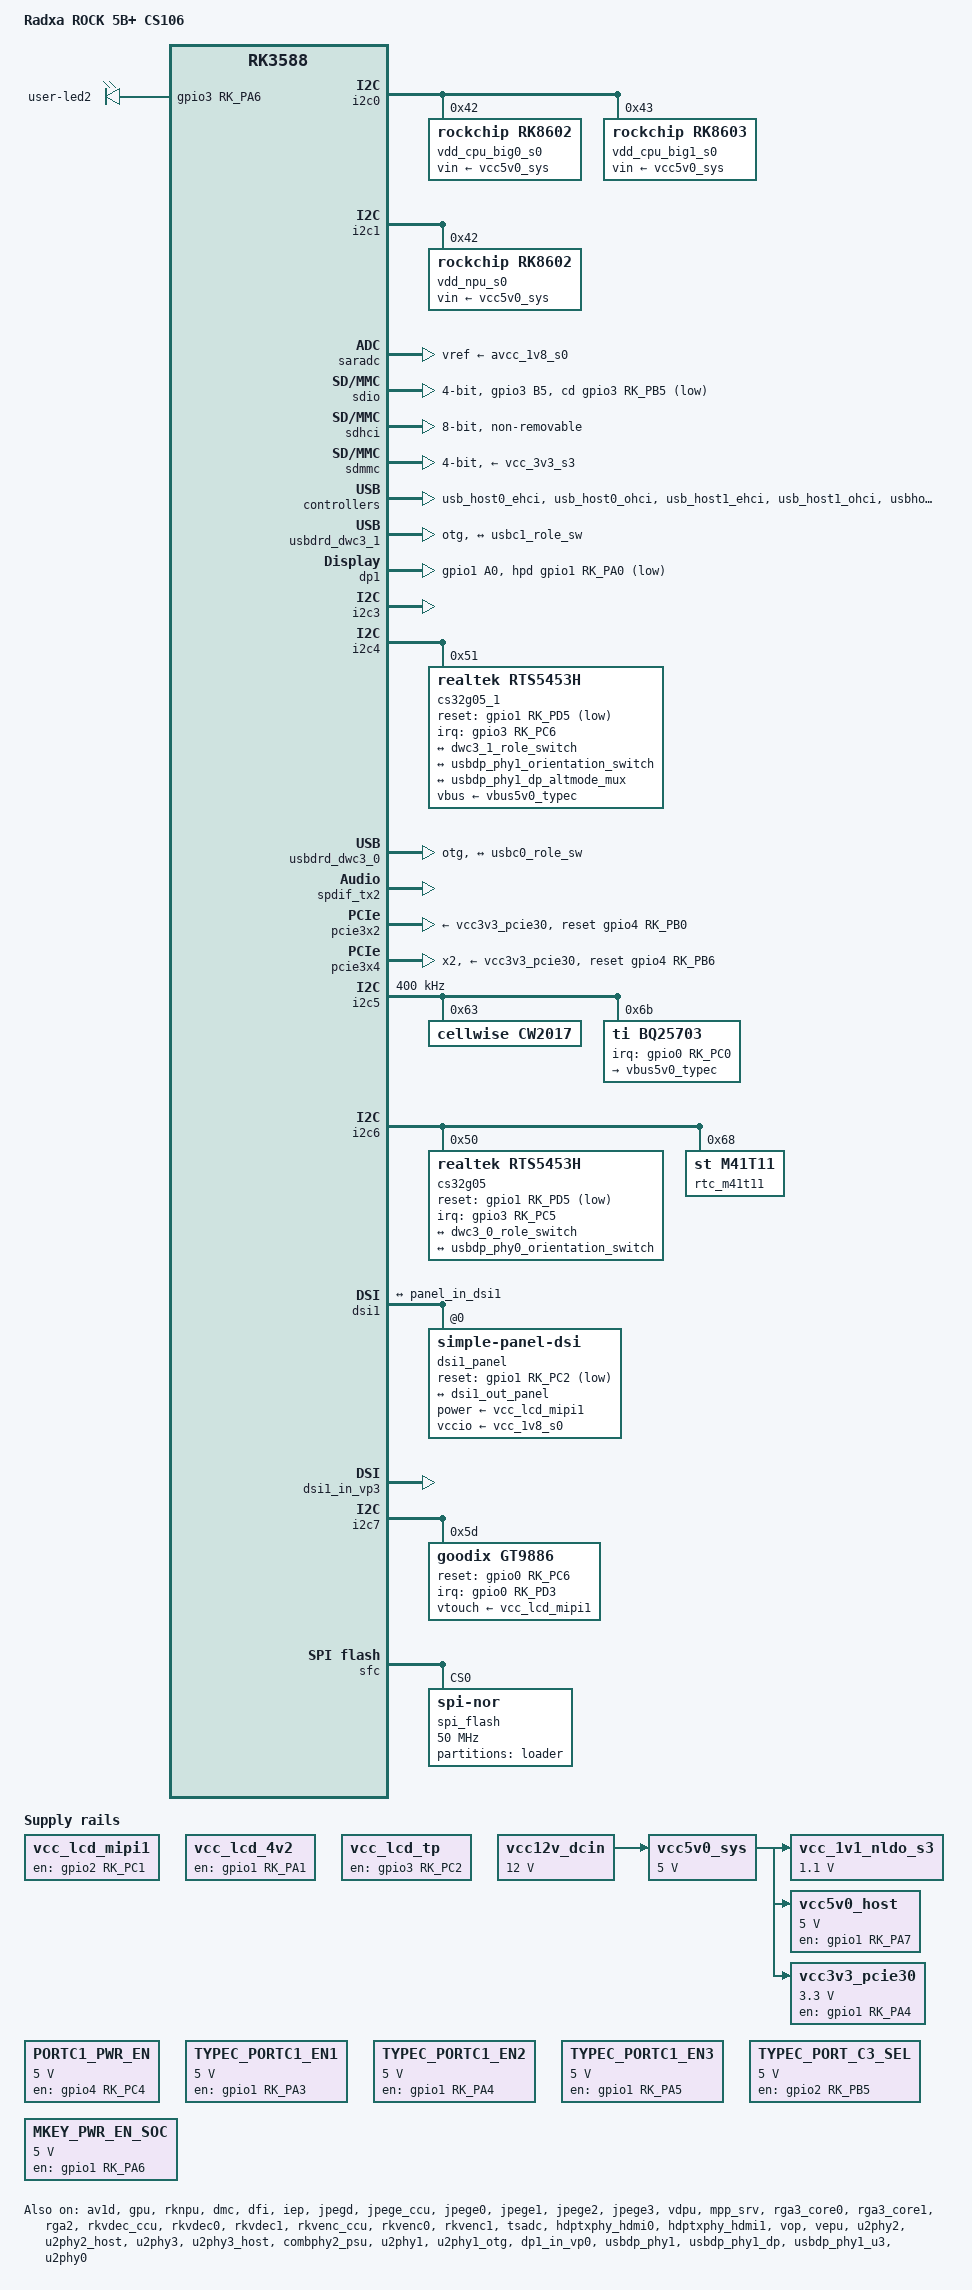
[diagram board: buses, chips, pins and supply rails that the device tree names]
// SPDX-License-Identifier: (GPL-2.0+ OR MIT)
/*
 * Copyright (c) 2024 Rockchip Electronics Co., Ltd.
 * Copyright (c) 2024 Radxa Computer (Shenzhen) Co., Ltd.
 *
 */

/dts-v1/;

#include <dt-bindings/gpio/gpio.h>
#include <dt-bindings/leds/common.h>
#include <dt-bindings/pwm/pwm.h>
#include <dt-bindings/pinctrl/rockchip.h>
#include <dt-bindings/input/rk-input.h>
#include <dt-bindings/display/drm_mipi_dsi.h>
#include <dt-bindings/display/rockchip_vop.h>
#include <dt-bindings/sensor-dev.h>
#include "dt-bindings/usb/pd.h"
#include "rk3588.dtsi"
#include "rk3588-rk806-single.dtsi"
#include "rk3588-linux.dtsi"

/ {
	model = "Radxa ROCK 5B+ CS106";
	compatible = "radxa,rock-5b-plus", "rockchip,rk3588";

	/delete-node/ chosen;

	/* SCG AMOLED Panel LCD regulator */
	vcc_lcd_mipi1: vcc-lcd-mipi1 {
		status = "okay";
		compatible = "regulator-fixed";
		regulator-name = "vcc_lcd_mipi1";
		gpio = <&gpio2 RK_PC1 GPIO_ACTIVE_HIGH>;
		enable-active-high;
		regulator-always-on;
		regulator-state-mem {
			regulator-off-in-suspend;
		};
	};

	vcc_lcd_4v2: vcc-lcd-4v2 {
		status = "okay";
		compatible = "regulator-fixed";
		regulator-name = "vcc_lcd_4v2";
		gpio = <&gpio1 RK_PA1 GPIO_ACTIVE_HIGH>;
		enable-active-high;
		regulator-always-on;
		regulator-state-mem {
			regulator-off-in-suspend;
		};
	};

	vcc_lcd_tp: vcc-lcd-tp {
		status = "okay";
		compatible = "regulator-fixed";
		regulator-name = "vcc_lcd_tp";
		gpio = <&gpio3 RK_PC2 GPIO_ACTIVE_HIGH>;
		enable-active-high;
		regulator-always-on;
		regulator-state-mem {
			regulator-off-in-suspend;
		};
	};

	vcc12v_dcin: vcc12v-dcin {
		compatible = "regulator-fixed";
		regulator-name = "vcc12v_dcin";
		regulator-always-on;
		regulator-boot-on;
		regulator-min-microvolt = <12000000>;
		regulator-max-microvolt = <12000000>;
	};

	vcc5v0_sys: vcc5v0-sys {
		compatible = "regulator-fixed";
		regulator-name = "vcc5v0_sys";
		regulator-always-on;
		regulator-boot-on;
		regulator-min-microvolt = <5000000>;
		regulator-max-microvolt = <5000000>;
		vin-supply = <&vcc12v_dcin>;
	};

	vcc_1v1_nldo_s3: vcc-1v1-nldo-s3 {
		compatible = "regulator-fixed";
		regulator-name = "vcc_1v1_nldo_s3";
		regulator-always-on;
		regulator-boot-on;
		regulator-min-microvolt = <1100000>;
		regulator-max-microvolt = <1100000>;
		vin-supply = <&vcc5v0_sys>;
	};

	vcc5v0_host: vcc5v0-host-regulator {
		compatible = "regulator-fixed";
		regulator-name = "vcc5v0_host";
		regulator-min-microvolt = <5000000>;
		regulator-max-microvolt = <5000000>;
		enable-active-high;
		regulator-always-on;
		gpio = <&gpio1 RK_PA7 GPIO_ACTIVE_HIGH>;
		pinctrl-names = "default";
		pinctrl-0 = <&vcc5v0_host_en>;
		vin-supply = <&vcc5v0_sys>;
	};

	vcc3v3_pcie30: vcc3v3-pcie30 {
		compatible = "regulator-fixed";
		regulator-name = "vcc3v3_pcie30";
		regulator-min-microvolt = <3300000>;
		regulator-max-microvolt = <3300000>;
		enable-active-high;
		gpios = <&gpio1 RK_PA4 GPIO_ACTIVE_HIGH>;
		startup-delay-us = <5000>;
		vin-supply = <&vcc5v0_sys>;
	};

	PORTC1_PWR_EN: PORTC1-PWR-EN {
		compatible = "regulator-fixed";
		regulator-name = "PORTC1_PWR_EN";
		regulator-min-microvolt = <5000000>;
		regulator-max-microvolt = <5000000>;
		enable-active-high;
		regulator-always-on;
		gpio = <&gpio4 RK_PC4 GPIO_ACTIVE_HIGH>;
		pinctrl-names = "default";
		pinctrl-0 = <&portc1_pwr_en>;
	};

	TYPEC_PORTC1_EN1: TYPEC-PORT-C1-EN1 {
		compatible = "regulator-fixed";
		regulator-name = "TYPEC_PORT_C1_EN1";
		regulator-min-microvolt = <5000000>;
		regulator-max-microvolt = <5000000>;
		enable-active-high;
		regulator-always-on;
		gpio = <&gpio1 RK_PA3 GPIO_ACTIVE_HIGH>;
		pinctrl-names = "default";
		pinctrl-0 = <&typec_portc1_en1>;
	};

	TYPEC_PORTC1_EN2: TYPEC-PORT-C1-EN2 {
		compatible = "regulator-fixed";
		regulator-name = "TYPEC_PORT_C1_EN2";
		regulator-min-microvolt = <5000000>;
		regulator-max-microvolt = <5000000>;
		enable-active-high;
		regulator-always-on;
		gpio = <&gpio1 RK_PA4 GPIO_ACTIVE_HIGH>;
		pinctrl-names = "default";
		pinctrl-0 = <&typec_portc1_en2>;
	};

	TYPEC_PORTC1_EN3: TYPEC-PORT-C1-EN3 {
		compatible = "regulator-fixed";
		regulator-name = "TYPEC_PORT_C1_EN3";
		regulator-min-microvolt = <5000000>;
		regulator-max-microvolt = <5000000>;
		enable-active-high;
		regulator-always-on;
		gpio = <&gpio1 RK_PA5 GPIO_ACTIVE_HIGH>;
		pinctrl-names = "default";
		pinctrl-0 = <&typec_portc1_en3>;
	};

	TYPEC_PORT_C3_SEL: TYPEC-PORT-C3-SEL {
		compatible = "regulator-fixed";
		regulator-name = "TYPEC_PORT_C3_SEL";
		regulator-min-microvolt = <5000000>;
		regulator-max-microvolt = <5000000>;
		enable-active-high;
		regulator-always-on;
		gpio = <&gpio2 RK_PB5 GPIO_ACTIVE_HIGH>;
		pinctrl-names = "default";
		pinctrl-0 = <&typec_portc3_sel>;
	};

	MKEY_PWR_EN_SOC: MKEY-PWR-EN-SOC {
		compatible = "regulator-fixed";
		regulator-name = "MKEY_PWR_EN_SOC";
		regulator-min-microvolt = <5000000>;
		regulator-max-microvolt = <5000000>;
		enable-active-high;
		regulator-always-on;
		gpio = <&gpio1 RK_PA6 GPIO_ACTIVE_HIGH>;
		pinctrl-names = "default";
		pinctrl-0 = <&mkey_pwr_en_soc>;
	};

	gpio-leds {
		compatible = "gpio-leds";
		pinctrl-names = "default";

		user-led2 {
			gpios = <&gpio3 RK_PA6 GPIO_ACTIVE_HIGH>;
			linux,default-trigger = "heartbeat";
			default-state = "on";
		};
	};

	/* If hdmirx node is disabled, delete the reserved-memory node here. */
	reserved-memory {
		#address-cells = <2>;
		#size-cells = <2>;
		ranges;

		/* Reserve 256MB memory for hdmirx-controller@fdee0000 */
		cma {
			compatible = "shared-dma-pool";
			reusable;
			reg = <0x0 (256 * 0x100000) 0x0 (256 * 0x100000)>;
			linux,cma-default;
		};
	};
};

&av1d {
	status = "okay";
};

&av1d_mmu {
	status = "okay";
};

&cpu_l0 {
	cpu-supply = <&vdd_cpu_lit_s0>;
	mem-supply = <&vdd_cpu_lit_mem_s0>;
};

&cpu_b0 {
	cpu-supply = <&vdd_cpu_big0_s0>;
	mem-supply = <&vdd_cpu_big0_mem_s0>;
};

&cpu_b2 {
	cpu-supply = <&vdd_cpu_big1_s0>;
	mem-supply = <&vdd_cpu_big1_mem_s0>;
};

&gpu {
	mali-supply = <&vdd_gpu_s0>;
	mem-supply = <&vdd_gpu_mem_s0>;
	status = "okay";
};

&rknpu {
	rknpu-supply = <&vdd_npu_s0>;
	mem-supply = <&vdd_npu_mem_s0>;
	status = "okay";
};

&rknpu_mmu {
	status = "okay";
};

&i2c0 {
	status = "okay";
	pinctrl-names = "default";
	pinctrl-0 = <&i2c0m2_xfer>;

	vdd_cpu_big0_s0: vdd_cpu_big0_mem_s0: rk8602@42 {
		compatible = "rockchip,rk8602";
		reg = <0x42>;
		vin-supply = <&vcc5v0_sys>;
		regulator-compatible = "rk860x-reg";
		regulator-name = "vdd_cpu_big0_s0";
		regulator-min-microvolt = <550000>;
		regulator-max-microvolt = <1050000>;
		regulator-ramp-delay = <2300>;
		rockchip,suspend-voltage-selector = <1>;
		regulator-boot-on;
		regulator-always-on;
		regulator-state-mem {
			regulator-off-in-suspend;
		};
	};

	vdd_cpu_big1_s0: vdd_cpu_big1_mem_s0: rk8603@43 {
		compatible = "rockchip,rk8603";
		reg = <0x43>;
		vin-supply = <&vcc5v0_sys>;
		regulator-compatible = "rk860x-reg";
		regulator-name = "vdd_cpu_big1_s0";
		regulator-min-microvolt = <550000>;
		regulator-max-microvolt = <1050000>;
		regulator-ramp-delay = <2300>;
		rockchip,suspend-voltage-selector = <1>;
		regulator-boot-on;
		regulator-always-on;
		regulator-state-mem {
			regulator-off-in-suspend;
		};
	};
};

&dmc {
	center-supply = <&vdd_ddr_s0>;
	mem-supply = <&vdd_log_s0>;
	status = "okay";
};

&dfi {
	status = "okay";
};

&i2c1 {
	status = "okay";
	pinctrl-names = "default";
	pinctrl-0 = <&i2c1m2_xfer>;

	vdd_npu_s0: vdd_npu_mem_s0: rk8602@42 {
		compatible = "rockchip,rk8602";
		reg = <0x42>;
		vin-supply = <&vcc5v0_sys>;
		regulator-compatible = "rk860x-reg";
		regulator-name = "vdd_npu_s0";
		regulator-min-microvolt = <550000>;
		regulator-max-microvolt = <950000>;
		regulator-ramp-delay = <2300>;
		rockchip,suspend-voltage-selector = <1>;
		regulator-boot-on;
		regulator-always-on;
		regulator-state-mem {
			regulator-off-in-suspend;
		};
	};
};

&iep {
	status = "okay";
};

&iep_mmu {
	status = "okay";
};

&jpegd {
	status = "okay";
};

&jpegd_mmu {
	status = "okay";
};

&jpege_ccu {
	status = "okay";
};

&jpege0 {
	status = "okay";
};

&jpege0_mmu {
	status = "okay";
};

&jpege1 {
	status = "okay";
};

&jpege1_mmu {
	status = "okay";
};

&jpege2 {
	status = "okay";
};

&jpege2_mmu {
	status = "okay";
};

&jpege3 {
	status = "okay";
};

&jpege3_mmu {
	status = "okay";
};

&vdpu {
	status = "okay";
};

&vdpu_mmu {
	status = "okay";
};

&mpp_srv {
	status = "okay";
};

&rga3_core0 {
	status = "okay";
};

&rga3_0_mmu {
	status = "okay";
};

&rga3_core1 {
	status = "okay";
};

&rga3_1_mmu {
	status = "okay";
};

&rga2 {
	status = "okay";
};

&rkvdec_ccu {
	status = "okay";
};

&rkvdec0 {
	status = "okay";
};

&rkvdec0_mmu {
	status = "okay";
};

&rkvdec1 {
	status = "okay";
};

&rkvdec1_mmu {
	status = "okay";
};

&rkvenc_ccu {
	status = "okay";
};

&rkvenc0 {
	status = "okay";
};

&rkvenc0_mmu {
	status = "okay";
};

&rkvenc1 {
	status = "okay";
};

&rkvenc1_mmu {
	status = "okay";
};

&saradc {
	status = "okay";
	vref-supply = <&avcc_1v8_s0>;
};

&sdio {
	max-frequency = <150000000>;
	no-sdmmc;
	no-mmc;
	bus-width = <4>;
	disable-wp;
	cap-sd-highspeed;
	cap-sdio-irq;
	keep-power-in-suspend;
	cd-gpios = <&gpio3 RK_PB5 GPIO_ACTIVE_LOW>;
	pinctrl-names = "default";
	pinctrl-0 = <&sdiom0_pins &sdio_det>;
	status = "okay";
};

&sdhci {
	bus-width = <8>;
	no-sdio;
	no-sd;
	non-removable;
	max-frequency = <200000000>;
	mmc-hs400-1_8v;
	mmc-hs400-enhanced-strobe;
	mmc-hs200-1_8v;
	status = "okay";
};

&sdmmc {
	max-frequency = <200000000>;
	no-sdio;
	no-mmc;
	bus-width = <4>;
	cap-mmc-highspeed;
	cap-sd-highspeed;
	disable-wp;
	sd-uhs-sdr104;
	vmmc-supply = <&vcc_3v3_s3>;
	vqmmc-supply = <&vccio_sd_s0>;
	pinctrl-names = "default";
	pinctrl-0 = <&sdmmc_bus4 &sdmmc_clk &sdmmc_cmd &sdmmc_det>;
	status = "okay";
};

&tsadc {
	status = "okay";
};

&display_subsystem {
	clocks = <&hdptxphy_hdmi0>, <&hdptxphy_hdmi1>;
	clock-names = "hdmi0_phy_pll", "hdmi1_phy_pll";
};

&hdptxphy_hdmi0 {
	status = "okay";
};

&hdptxphy_hdmi1 {
	status = "okay";
};

&vop {
	status = "okay";
};

&vop_mmu {
	status = "okay";
};

&vepu {
	status = "okay";
};

/* vp0 & vp1 splice for 8K output */
&vp0 {
	rockchip,plane-mask = <(1 << ROCKCHIP_VOP2_CLUSTER0 | 1 << ROCKCHIP_VOP2_ESMART0)>;
	rockchip,primary-plane = <ROCKCHIP_VOP2_CLUSTER0>;
	cursor-win-id = <ROCKCHIP_VOP2_ESMART0>;
};

&vp1 {
	rockchip,plane-mask = <(1 << ROCKCHIP_VOP2_CLUSTER1 | 1 << ROCKCHIP_VOP2_ESMART1)>;
	rockchip,primary-plane = <ROCKCHIP_VOP2_CLUSTER1>;
	cursor-win-id = <ROCKCHIP_VOP2_ESMART1>;
};

&vp2 {
	rockchip,plane-mask = <(1 << ROCKCHIP_VOP2_CLUSTER2 | 1 << ROCKCHIP_VOP2_ESMART2)>;
	rockchip,primary-plane = <ROCKCHIP_VOP2_CLUSTER2>;
	cursor-win-id = <ROCKCHIP_VOP2_ESMART2>;
};

&vp3 {
	rockchip,plane-mask = <(1 << ROCKCHIP_VOP2_CLUSTER3 | 1 << ROCKCHIP_VOP2_ESMART3)>;
	rockchip,primary-plane = <ROCKCHIP_VOP2_CLUSTER3>;
	cursor-win-id = <ROCKCHIP_VOP2_ESMART3>;
};

&u2phy2 {
	status = "okay";
};

&u2phy2_host {
	status = "okay";
};

&u2phy3 {
	status = "okay";
};

&u2phy3_host {
	status = "okay";
};

&usb_host0_ehci {
	status = "okay";
};

&usb_host0_ohci {
	status = "okay";
};

&usb_host1_ehci {
	status = "okay";
};

&usb_host1_ohci {
	status = "okay";
};

&usbhost3_0 {
	status = "okay";
};

&usbhost_dwc3_0 {
	status = "okay";
};

&combphy2_psu {
	status = "okay";
};

&u2phy1 {
	status = "okay";
};

&u2phy1_otg {
	vbus-supply = <&vcc5v0_host>;
	status = "okay";
};

&usbdrd3_1{
	status = "okay";
};

&usbdrd_dwc3_1{
	status = "okay";
	dr_mode = "otg";
	usb-role-switch;
	port {
		#address-cells = <1>;
		#size-cells = <0>;
		dwc3_1_role_switch: endpoint@0 {
			reg = <0>;
			remote-endpoint = <&usbc1_role_sw>;
		};
	};
};

&dp1 {
	status = "okay";
	pinctrl-names = "default";
	pinctrl-0 = <&dp1_hpd>;
	hpd-gpios = <&gpio1 RK_PA0 GPIO_ACTIVE_LOW>;
};

&dp1_in_vp0 {
	status = "okay";
};

&usbdp_phy1 {
	status = "okay";
	orientation-switch;
	svid = <0xff01>;
	rockchip,no-aux-polarity-invert;
	rockchip,dp-lane-mux = <0 1 2 3>;

	port {
		#address-cells = <1>;
		#size-cells = <0>;
		usbdp_phy1_orientation_switch: endpoint@0 {
			reg = <0>;
			remote-endpoint = <&usbc1_phy_sw>;
		};

		usbdp_phy1_dp_altmode_mux: endpoint@1 {
			reg = <1>;
			remote-endpoint = <&dp1_altmode_mux>;
		};
	};
};

&usbdp_phy1_dp {
	status = "okay";
};

&usbdp_phy1_u3 {
	status = "okay";
};

&i2c3 {
	status = "okay";
	pinctrl-names = "default";
	pinctrl-0 = <&i2c3m0_xfer>;
};

&i2c4 {
	status = "okay";
	pinctrl-names = "default";
	pinctrl-0 = <&i2c4m2_xfer>;

	cs32g05_1:cs32g05-1@51 {
		compatible = "realtek,rts5453h";
		pinctrl-names = "default","pd-reset";
		pinctrl-0 = <&usbc1_int>;
		interrupt-parent = <&gpio3>;
		interrupts = <RK_PC6 IRQ_TYPE_LEVEL_LOW>;
		reset-gpios = <&gpio1 RK_PD5 GPIO_ACTIVE_LOW>;
		pinctrl-1 = <&usbc0_gpio>;
		vbus-supply = <&vbus5v0_typec>;
		id = <3>;
		reg = <0x51>;
		status = "okay";

		ports {
			label = "USB-C";
			data-role = "dual";
			power-role = "dual";
			try-power-role = "sink";
			#address-cells = <1>;
			#size-cells = <0>;

			port@0 {
				reg = <0>;
				usbc1_role_sw: endpoint {
					remote-endpoint = <&dwc3_1_role_switch>;
				};
			};

			port@1 {
				reg = <1>;
				usbc1_phy_sw: endpoint {
					remote-endpoint = <&usbdp_phy1_orientation_switch>;
				};
			};

			port@2 {
				reg = <2>;
				dp1_altmode_mux: endpoint {
					remote-endpoint = <&usbdp_phy1_dp_altmode_mux>;
				};
			};
		};
	};
};

&u2phy0 {
	status = "okay";
};

&u2phy0_otg {
	rockchip,typec-vbus-det;
	status = "okay";
};

&usbdrd3_0 {
	status = "okay";
};

&usbdrd_dwc3_0 {
	status = "okay";
	dr_mode = "otg";
	usb-role-switch;
	port {
		#address-cells = <1>;
		#size-cells = <0>;
		dwc3_0_role_switch: endpoint@0 {
			reg = <0>;
			remote-endpoint = <&usbc0_role_sw>;
		};
	};
};

&usbdp_phy0 {
	status = "okay";
	orientation-switch;
	svid = <0xff01>;
	// sbu1-dc-gpios = <&gpio0 RK_PC4 GPIO_ACTIVE_HIGH>;
	// sbu2-dc-gpios = <&gpio0 RK_PC5 GPIO_ACTIVE_HIGH>;

	port {
		#address-cells = <1>;
		#size-cells = <0>;
		usbdp_phy0_orientation_switch: endpoint@0 {
			reg = <0>;
			remote-endpoint = <&usbc0_phy_sw>;
		};

		// usbdp_phy0_dp_altmode_mux: endpoint@1 {
		// 	reg = <1>;
		// 	remote-endpoint = <&dp_altmode_mux>;
		// };
	};
};

&usbdp_phy0_u3 {
	status = "okay";
};

&usbdp_phy0_dp {
	status = "okay";
};

&spdif_tx2 {
	status = "okay";
};

&combphy0_ps {
	status = "okay";
};

&combphy1_ps {
	status = "okay";
};

&pcie30phy {
	rockchip,pcie30-phymode = <PHY_MODE_PCIE_NANBNB>;
	status = "okay";
};

&pcie3x2 {
	reset-gpios = <&gpio4 RK_PB0 GPIO_ACTIVE_HIGH>;
	vpcie3v3-supply = <&vcc3v3_pcie30>;
	status = "okay";
};

&pcie3x4 {
	num-lanes = <2>;
	reset-gpios = <&gpio4 RK_PB6 GPIO_ACTIVE_HIGH>;
	vpcie3v3-supply = <&vcc3v3_pcie30>;
	status = "okay";
};

&threshold {
	temperature = <60000>;
};

&soc_thermal {
	sustainable-power = <5000>; /* milliwatts */
};

&i2c5 {
	pinctrl-names = "default";
	pinctrl-0 = <&i2c5m4_xfer>;
	clock-frequency = <400000>;
	status = "okay";

	cw2017@63 {
		status = "okay";
		compatible = "cellwise,cw2017";
		reg = <0x63>;
		cellwise,battery-profile = /bits/ 8
			<0x19 0x00 0x00 0x00 0x00 0x00 0x00 0x00
			0xA2 0xC1 0xB5 0xAF 0xA2 0x9C 0xE2 0xD2
			0xC9 0xCC 0xB6 0x94 0x83 0x5D 0x54 0x50
			0x4F 0x4F 0x4F 0xC3 0xB2 0xD2 0xAD 0xF6
			0xE1 0xD3 0xCD 0xCF 0xCA 0xC8 0xC3 0xC1
			0xC2 0xC3 0xBD 0x9F 0x87 0x74 0x69 0x68
			0x6E 0x7C 0x8D 0xA2 0xB7 0xC6 0xA8 0x51
			0x00 0x00 0xAB 0x02 0x00 0x00 0x00 0x00
			0x00 0x00 0x64 0x00 0x00 0x00 0x00 0x00
			0x00 0x00 0x00 0x00 0x00 0x00 0x00 0x96>;
		cellwise,monitor-interval-ms = <5000>;
		cellwise,alert-level = <10>;
		cellwise,design-capacity-amh = <6800>;
		//power-supplies = <&bq25703>;
	};

	bq25703: bq25703@6b {
		status = "okay";
		compatible = "ti,bq25703";
		reg = <0x6b>;
		ti,usb-charger-detection = <&cs32g05_1>;

		interrupt-parent = <&gpio0>;
		interrupts = <RK_PC0 IRQ_TYPE_LEVEL_LOW>;
		//otg-mode-en-gpios = <&gpio4 RK_PA6 GPIO_ACTIVE_HIGH>;
		pinctrl-names = "default";
		pinctrl-0 = <&charger_ok>;
		extcon = <&u2phy1>;
		ti,charge-current = <2000000>;
		ti,max-input-voltage = <20000000>;
		ti,max-input-current = <2500000>;
		ti,max-charge-voltage = <4200000>;
		ti,input-current = <500000>;
		ti,input-current-sdp = <500000>;
		ti,input-current-dcp = <2000000>;
		ti,input-current-cdp = <2000000>;
		ti,minimum-sys-voltage = <3400000>;
		ti,otg-voltage = <5000000>;
		ti,otg-current = <1500000>;
		pd-charge-only = <0>;
		regulators {
			vbus5v0_typec: vbus5v0-typec {
				regulator-compatible = "otg-vbus";
				regulator-name = "vbus5v0_typec";
			};
		};
	};
};

&i2c6 {
	pinctrl-names = "default";
	pinctrl-0 = <&i2c6m0_xfer>;
	status = "okay";

	cs32g05:cs32g05@50 {
		compatible = "realtek,rts5453h";
		pinctrl-names = "default","pd-reset";
		pinctrl-0 = <&usbc0_int>;
		interrupt-parent = <&gpio3>;
		interrupts = <RK_PC5 IRQ_TYPE_LEVEL_LOW>;
		reset-gpios = <&gpio1 RK_PD5 GPIO_ACTIVE_LOW>;
		pinctrl-1 = <&usbc0_gpio>;
		id = <2>;
		reg = <0x50>;
		status = "okay";

		ports {
			label = "USB-C";
			data-role = "dual";
			power-role = "dual";
			try-power-role = "sink";
			#address-cells = <1>;
			#size-cells = <0>;
			port@0 {
				reg = <0>;
				usbc0_role_sw: endpoint {
					remote-endpoint = <&dwc3_0_role_switch>;
				};
			};
			port@1 {
				reg = <1>;
				usbc0_phy_sw: endpoint {
					remote-endpoint = <&usbdp_phy0_orientation_switch>;
				};
			};
		};
	};

	rtc_m41t11: m41t11@68 {
		compatible = "st,m41t11";
		reg = <0x68>;
	};
};

/* SCG AMOLED Panel DSI configuration */
&dsi1 {
	status = "okay";
	//rockchip,lane-rate = <1000>;
	#address-cells = <1>;
	#size-cells = <0>;

	dsi1_panel: panel@0 {
		status = "okay";
		compatible = "simple-panel-dsi";
		reg = <0>;
		power-supply = <&vcc_lcd_mipi1>;
		vccio-supply = <&vcc_1v8_s0>;
		reset-gpios = <&gpio1 RK_PC2 GPIO_ACTIVE_LOW>;
		reset-delay-ms = <50>;
		init-delay-ms = <120>;
		pinctrl-names = "default";
		pinctrl-0 = <&dsi1_lcd_rst_gpio>;


		/* Add display timings for benefit of U-Boot rockchip-panel.c */
		/* also having this here seems to break suspend/resume  in kernel (for drm)*/
		/* if u-boot display is not utiliezed, these need to be commented out since the will somehow corrupt the kernel panel-simple*/
        display-timings {
		native-mode = <&timing0>;
		timing0: timing0 {
			clock-frequency = <132000000>;
			hactive = <1080>;
			vactive = <1920>;
			hfront-porch = <26>;
			hsync-len = <2>;
			hback-porch = <92>;
			vfront-porch = <8>;
			vsync-len = <4>;
			vback-porch = <16>;
			hsync-active = <1>;
			vsync-active = <1>;
			de-active = <0>;
			pixelclk-active = <0>;
		};
	};

		ports {
			#address-cells = <1>;
			#size-cells = <0>;

			port@0 {
				reg = <0>;
				panel_in_dsi1: endpoint {
					remote-endpoint = <&dsi1_out_panel>;
				};
			};
		};
	};

	ports {
		#address-cells = <1>;
		#size-cells = <0>;

		port@1 {
			reg = <1>;
			dsi1_out_panel: endpoint {
				remote-endpoint = <&panel_in_dsi1>;
			};
		};
	};
};

&mipi_dcphy1 {
	status = "okay";
};

/* Is above in panel
&route_dsi1 {
	status = "okay";
	connect = <&vp3_out_dsi1>;
};
*/

&dsi1_in_vp2 {
	status = "disabled";
};

&dsi1_in_vp3 {
	status = "okay";
};

&i2c7 {
	pinctrl-names = "default";
	pinctrl-0 = <&i2c7m3_xfer>;
	status = "okay";

	/* SCG GT9886 touchscreen (GTX8 family with low-power I2C wake-up) */
	gt9886: touchscreen@5d {
		compatible = "goodix,gt9886";
		reg = <0x5d>;
		pinctrl-names = "default";
		pinctrl-0 = <&gt9xx_gpio>;

		/* GPIOs - no polarity change needed */
		goodix,reset-gpio = <&gpio0 RK_PC6 GPIO_ACTIVE_HIGH>;
		goodix,irq-gpio = <&gpio0 RK_PD3 IRQ_TYPE_LEVEL_HIGH>;
		goodix,irq-flags = <0x00000001>; /* IRQF_TRIGGER_RISING */

		/* Panel dimensions */
		goodix,panel-max-x = <1080>;
		goodix,panel-max-y = <1920>;
		goodix,panel-max-id = <3>; /* Maximum simultaneous touch points */
		goodix,input-max-x = <1080>; /* Input device X axis range */
		goodix,input-max-y = <1920>; /* Input device Y axis range */

		/* Power supply */
		goodix,avdd-name = "vcc_lcd_mipi1";
		vtouch-supply = <&vcc_lcd_mipi1>;

		/* Power timing (10ms on, 5ms off) */
		goodix,power-on-delay-us = <10000>;
		goodix,power-off-delay-us = <5000>;

		/* Firmware and config version strings */
		goodix,firmware-version = "v1";
		goodix,config-version = "v1";
	};
};

&sfc {
	status = "okay";
	max-freq = <50000000>;
	#address-cells = <1>;
	#size-cells = <0>;
	pinctrl-names = "default";
	pinctrl-0 = <&fspim2_pins>;

	spi_flash: spi-flash@0 {
		#address-cells = <1>;
		#size-cells = <0>;
		compatible = "jedec,spi-nor";
		reg = <0x0>;
		spi-max-frequency = <50000000>;
		spi-tx-bus-width = <1>;
		spi-rx-bus-width = <4>;
		status = "okay";

		partitions {
			compatible = "fixed-partitions";
			#address-cells = <1>;
			#size-cells = <1>;

			loader@0 {
				label = "loader";
				reg = <0x0 0x1000000>;
			};
		};
	};
};

&rockchip_suspend {
	compatible = "rockchip,pm-rk3588";
	status = "okay";
	rockchip,sleep-debug-en = <1>;
	rockchip,sleep-mode-config = <
		(0
		| RKPM_SLP_ARMOFF_DDRPD
		)
	>;
	rockchip,wakeup-config = <
		(0
		| RKPM_GPIO_WKUP_EN
		| RKPM_USB_WKUP_EN
		)
	>;
};

&avdd_0v75_s0 {
	regulator-state-mem {
		regulator-on-in-suspend;
		regulator-suspend-microvolt = <837500>;
	};
};

&avcc_1v8_s0 {
	regulator-state-mem {
		regulator-on-in-suspend;
		regulator-suspend-microvolt = <1800000>;
	};
};

&vcc_1v8_s0 {
	regulator-state-mem {
		regulator-on-in-suspend;
		regulator-suspend-microvolt = <1800000>;
	};
};

&vcc_3v3_s0 {
	regulator-state-mem {
		regulator-on-in-suspend;
		regulator-suspend-microvolt = <3300000>;
	};
};

&vdd_log_s0 {
	regulator-state-mem {
		regulator-on-in-suspend;
		regulator-suspend-microvolt = <750000>;
	};
};

&vdd_ddr_pll_s0 {
	regulator-state-mem {
		regulator-on-in-suspend;
		regulator-suspend-microvolt = <850000>;
	};
};

&pinctrl {
	sdio {
		sdio_det: sdio-det {
			rockchip,pins = <3 RK_PB5 RK_FUNC_GPIO &pcfg_pull_up>;
		};
	};

	usb {
		vcc5v0_host_en: vcc5v0-host-en {
			rockchip,pins = <1 RK_PA7 RK_FUNC_GPIO &pcfg_pull_none>;
		};

		vcc5v0_otg_en: vcc5v0-otg-en {
			rockchip,pins = <2 RK_PC5 RK_FUNC_GPIO &pcfg_pull_none>;
		};
	};

	usb-typec {
		usbc0_int: usbc0-int {
			rockchip,pins = <3 RK_PC5 RK_FUNC_GPIO &pcfg_pull_up>;
		};

		usbc0_gpio: usbc0-gpio {
			rockchip,pins = <1 RK_PD5 RK_FUNC_GPIO &pcfg_pull_none>;
		};

		usbc1_int: usbc1-int {
			rockchip,pins = <3 RK_PC6 RK_FUNC_GPIO &pcfg_pull_up>;
		};

		// usbc1_gpio: usbc0-gpio {
		// 	rockchip,pins = <1 RK_PD5 RK_FUNC_GPIO &pcfg_pull_none>;
		// };
	};

	dp {
		dp1_hpd: dp1-hpd {
			rockchip,pins = <1 RK_PA0 RK_FUNC_GPIO &pcfg_pull_none>;
		};
	};

	portc1 {
		portc1_pwr_en: portc1-pwr-en {
			rockchip,pins = <4 RK_PC4 RK_FUNC_GPIO &pcfg_pull_none>;
		};

		typec_portc1_en1: typec-portc1-en1 {
			rockchip,pins = <1 RK_PA3 RK_FUNC_GPIO &pcfg_pull_none>;
		};

		typec_portc1_en2: typec-portc1-en2 {
			rockchip,pins = <1 RK_PA4 RK_FUNC_GPIO &pcfg_pull_none>;
		};

		typec_portc1_en3: typec-portc1-en3 {
			rockchip,pins = <1 RK_PA5 RK_FUNC_GPIO &pcfg_pull_none>;
		};
	};

	portc3 {
		mkey_pwr_en_soc: mkey-pwr-en-soc {
			rockchip,pins = <1 RK_PA6 RK_FUNC_GPIO &pcfg_pull_none>;
		};

		typec_portc3_sel: typec-portc3-sel {
			rockchip,pins = <2 RK_PB5 RK_FUNC_GPIO &pcfg_pull_none>;
		};
	};

	/* SCG AMOLED Panel pinctrl */
	dsi1-lcd {
		dsi1_lcd_rst_gpio: dsi1-lcd-rst-gpio {
			rockchip,pins = <1 RK_PC2 RK_FUNC_GPIO &pcfg_pull_up>;
		};
	};

	gt9xx {
		gt9xx_gpio: gt9xx-gpio {
			rockchip,pins =
				<0 RK_PC6 RK_FUNC_GPIO &pcfg_pull_none>,
				<0 RK_PD3 RK_FUNC_GPIO &pcfg_pull_up>;
		};
	};

	charger {
		charger_ok: charger_ok {
			rockchip,pins = <0 RK_PC0 RK_FUNC_GPIO &pcfg_pull_up>;
		};
	};
};
